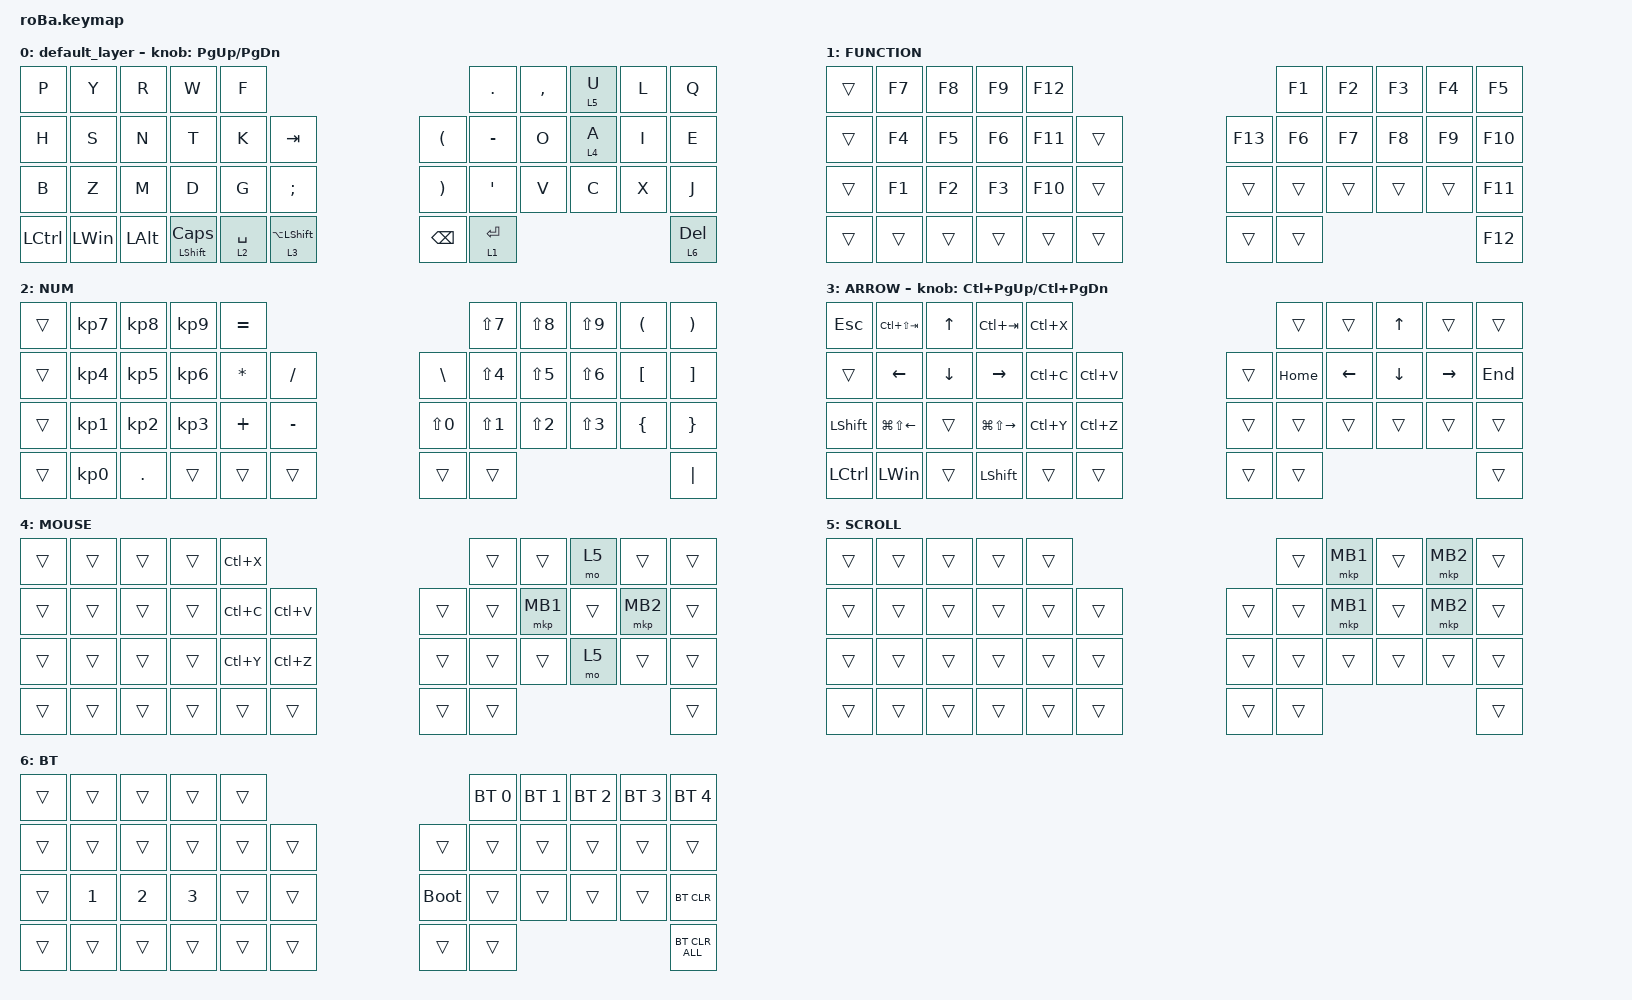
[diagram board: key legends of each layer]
#include <behaviors.dtsi>
#include <dt-bindings/zmk/bt.h>
#include <dt-bindings/zmk/keys.h>
#include <dt-bindings/zmk/pointing.h>

&mt {
    flavor = "balanced";
    quick-tap-ms = <0>;
};

&trackball {
    // automouse-layer = <4>;

    scroll-layers = <5>;

    // arrows {
    //     layers = <3>;
    //     bindings =
    //         <&kp RIGHT_ARROW>,
    //         <&kp LEFT_ARROW>,
    //         <&kp UP_ARROW>,
    //         <&kp DOWN_ARROW>;
    //     tick = <10>;
    //     wait-ms = <5>;
    //     tap-ms = <5>;
    // };
};

/ {
    combos {
        compatible = "zmk,combos";

        tab {
            bindings = <&kp TAB>;
            key-positions = <11 12>;
        };

        shift_tab {
            bindings = <&kp LS(TAB)>;
            key-positions = <12 13>;
        };

        muhennkann {
            bindings = <&to_layer_0 INT_MUHENKAN>;
            key-positions = <11 10>;
        };

        double_quotation {
            bindings = <&kp DOUBLE_QUOTES>;
            key-positions = <20 21>;
        };

        eq {
            bindings = <&kp EQUAL>;
            key-positions = <24 25>;
        };
    };

    macros {
        to_layer_0: to_layer_0 {
            compatible = "zmk,behavior-macro-one-param";
            #binding-cells = <1>;
            bindings = <&to 0 &macro_param_1to1 &kp MACRO_PLACEHOLDER>;
            label = "TO_LAYER_0";
        };
    };

    behaviors {
        lt_to_layer_0: lt_to_layer_0 {
            compatible = "zmk,behavior-hold-tap";
            label = "LAYER_TAP_TO_0";
            bindings = <&mo>, <&to_layer_0>;

            #binding-cells = <2>;
            tapping-term-ms = <200>;
        };
    };

    keymap {
        compatible = "zmk,keymap";

        default_layer {
            bindings = <
&kp P      &kp Y         &kp R         &kp W                &kp F                                                                    &kp PERIOD      &kp COMMA  &lt 5 U  &kp L  &kp Q
&kp H      &kp S         &kp N         &kp T                &kp K        &kp TAB                              &kp LEFT_PARENTHESIS   &kp MINUS       &kp O      &lt 4 A  &kp I  &kp E
&kp B      &kp Z         &kp M         &kp D                &kp G        &kp SEMICOLON                        &kp RIGHT_PARENTHESIS  &kp APOSTROPHE  &kp V      &kp C    &kp X  &kp J
&kp LCTRL  &kp LEFT_WIN  &kp LEFT_ALT  &mt LEFT_SHIFT CAPS  &lt 2 SPACE  &lt_to_layer_0 3 LA(LEFT_SHIFT)      &kp BACKSPACE          &lt 1 RET                                  &lt 6 DELETE
            >;

            sensor-bindings = <&inc_dec_kp PG_UP PAGE_DOWN>;
        };

        FUNCTION {
            bindings = <
&trans  &kp F7  &kp F8  &kp F9  &kp F12                       &kp F1  &kp F2  &kp F3  &kp F4  &kp F5
&trans  &kp F4  &kp F5  &kp F6  &kp F11  &trans      &kp F13  &kp F6  &kp F7  &kp F8  &kp F9  &kp F10
&trans  &kp F1  &kp F2  &kp F3  &kp F10  &trans      &trans   &trans  &trans  &trans  &trans  &kp F11
&trans  &trans  &trans  &trans  &trans   &trans      &trans   &trans                          &kp F12
            >;
        };

        NUM {
            bindings = <
&trans  &kp KP_NUMBER_7  &kp KP_NUMBER_8  &kp KP_NUMBER_9  &kp EQUAL                                   &kp LS(N7)        &kp LS(N8)        &kp LS(N9)        &kp LEFT_PARENTHESIS  &kp RIGHT_PARENTHESIS
&trans  &kp KP_NUMBER_4  &kp KP_NUMBER_5  &kp KP_NUMBER_6  &kp ASTERISK  &kp SLASH      &kp BACKSLASH  &kp LS(NUMBER_4)  &kp LS(N5)        &kp LS(NUMBER_6)  &kp LEFT_BRACKET      &kp RIGHT_BRACKET
&trans  &kp KP_NUMBER_1  &kp KP_NUMBER_2  &kp KP_NUMBER_3  &kp PLUS      &kp MINUS      &kp LS(N0)     &kp LS(NUMBER_1)  &kp LS(NUMBER_2)  &kp LS(NUMBER_3)  &kp LEFT_BRACE        &kp RIGHT_BRACE
&trans  &kp KP_NUMBER_0  &kp PERIOD       &trans           &trans        &trans         &trans         &trans                                                                      &kp PIPE
            >;
        };

        ARROW {
            bindings = <
&kp ESCAPE      &kp LC(LS(TAB))         &kp UP_ARROW    &kp LC(TAB)              &kp LC(X)                         &trans    &trans    &kp UP          &trans           &trans
&trans          &kp LEFT_ARROW          &kp DOWN_ARROW  &kp RIGHT_ARROW          &kp LC(C)  &kp LC(V)      &trans  &kp HOME  &kp LEFT  &kp DOWN_ARROW  &kp RIGHT_ARROW  &kp END
&kp LEFT_SHIFT  &kp LG(LS(LEFT_ARROW))  &trans          &kp LG(LS(RIGHT_ARROW))  &kp LC(Y)  &kp LC(Z)      &trans  &trans    &trans    &trans          &trans           &trans
&kp LCTRL       &kp LEFT_WIN            &trans          &kp LEFT_SHIFT           &trans     &trans         &trans  &trans                                               &trans
            >;

            sensor-bindings = <&inc_dec_kp LC(PAGE_UP) LC(PAGE_DOWN)>;
        };

        MOUSE {
            bindings = <
&trans  &trans  &trans  &trans  &kp LC(X)                         &trans  &trans    &mo 5   &trans    &trans
&trans  &trans  &trans  &trans  &kp LC(C)  &kp LC(V)      &trans  &trans  &mkp MB1  &trans  &mkp MB2  &trans
&trans  &trans  &trans  &trans  &kp LC(Y)  &kp LC(Z)      &trans  &trans  &trans    &mo 5   &trans    &trans
&trans  &trans  &trans  &trans  &trans     &trans         &trans  &trans                              &trans
            >;
        };

        SCROLL {
            bindings = <
&trans  &trans  &trans  &trans  &trans                      &trans  &mkp MB1  &trans  &mkp MB2  &trans
&trans  &trans  &trans  &trans  &trans  &trans      &trans  &trans  &mkp MB1  &trans  &mkp MB2  &trans
&trans  &trans  &trans  &trans  &trans  &trans      &trans  &trans  &trans    &trans  &trans    &trans
&trans  &trans  &trans  &trans  &trans  &trans      &trans  &trans                              &trans
            >;
        };

        BT {
            bindings = <
&trans  &trans        &trans        &trans        &trans                           &bt BT_SEL 0  &bt BT_SEL 1  &bt BT_SEL 2  &bt BT_SEL 3  &bt BT_SEL 4
&trans  &trans        &trans        &trans        &trans  &trans      &trans       &trans        &trans        &trans        &trans        &trans
&trans  &kp NUMBER_1  &kp NUMBER_2  &kp NUMBER_3  &trans  &trans      &bootloader  &trans        &trans        &trans        &trans        &bt BT_CLR
&trans  &trans        &trans        &trans        &trans  &trans      &trans       &trans                                                  &bt BT_CLR_ALL
            >;
        };
    };
};
